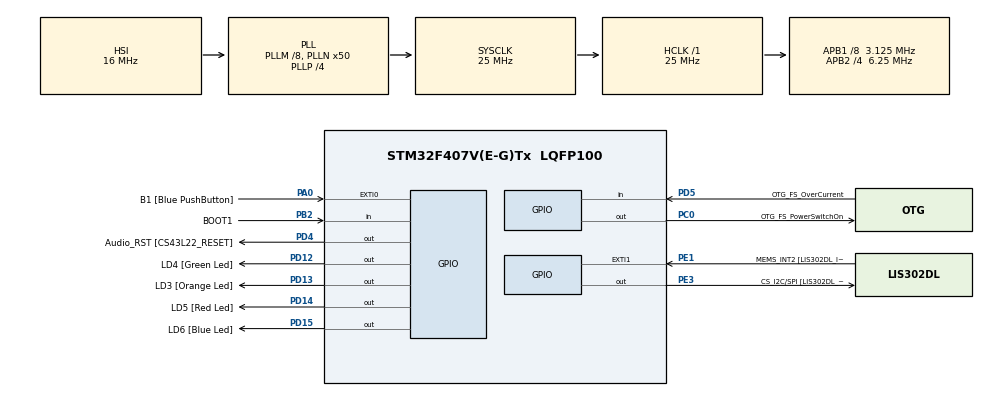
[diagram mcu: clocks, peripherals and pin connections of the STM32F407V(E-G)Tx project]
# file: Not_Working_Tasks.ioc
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Mcu.Family=STM32F4
Mcu.Name=STM32F407V(E-G)Tx
Mcu.Package=LQFP100
NVIC.PriorityGroup=NVIC_PRIORITYGROUP_4
NVIC.TIM6_DAC_IRQn=true\:0\:0\:false\:false\:true\:false\:true
NVIC.TimeBase=TIM6_DAC_IRQn
NVIC.TimeBaseIP=TIM6
PA0-WKUP.GPIO_Label=B1 [Blue PushButton]
PA0-WKUP.GPIO_ModeDefaultEXTI=GPIO_MODE_EVT_RISING
PA0-WKUP.GPIO_PuPd=GPIO_NOPULL
PA0-WKUP.Signal=GPXTI0
PA10.GPIO_Label=OTG_FS_ID
PA10.GPIO_Mode=GPIO_MODE_AF_PP
PA10.GPIO_PuPd=GPIO_NOPULL
PA10.GPIO_Speed=GPIO_SPEED_FREQ_LOW
PA10.Signal=USB_OTG_FS_ID
PA11.GPIO_Label=OTG_FS_DM
PA11.GPIO_Mode=GPIO_MODE_AF_PP
PA11.GPIO_PuPd=GPIO_NOPULL
PA11.GPIO_Speed=GPIO_SPEED_FREQ_LOW
PA11.Signal=USB_OTG_FS_DM
PA12.GPIO_Label=OTG_FS_DP
PA12.GPIO_Mode=GPIO_MODE_AF_PP
PA12.GPIO_PuPd=GPIO_NOPULL
PA12.GPIO_Speed=GPIO_SPEED_FREQ_LOW
PA12.Signal=USB_OTG_FS_DP
PA13.GPIO_Label=SWDIO
PA13.Signal=SYS_JTMS-SWDIO
PA14.GPIO_Label=SWCLK
PA14.Signal=SYS_JTCK-SWCLK
PA4.GPIO_Label=I2S3_WS [CS43L22_LRCK]
PA4.GPIO_Mode=GPIO_MODE_AF_PP
PA4.GPIO_PuPd=GPIO_NOPULL
PA4.GPIO_Speed=GPIO_SPEED_FREQ_LOW
PA4.Signal=I2S3_WS
PA5.GPIO_Label=SPI1_SCK [LIS302DL_SCL/SPC]
PA5.GPIO_Mode=GPIO_MODE_AF_PP
PA5.GPIO_PuPd=GPIO_NOPULL
PA5.GPIO_Speed=GPIO_SPEED_FREQ_LOW
PA5.Signal=SPI1_SCK
PA6.GPIO_Label=SPI1_MISO [LIS302DL_SDO]
PA6.GPIO_Mode=GPIO_MODE_AF_PP
PA6.GPIO_PuPd=GPIO_NOPULL
PA6.GPIO_Speed=GPIO_SPEED_FREQ_LOW
PA6.Signal=SPI1_MISO
PA7.GPIO_Label=SPI1_MOSI [LIS302DL_SDA/SDI/SDO]
PA7.GPIO_Mode=GPIO_MODE_AF_PP
PA7.GPIO_PuPd=GPIO_NOPULL
PA7.GPIO_Speed=GPIO_SPEED_FREQ_LOW
PA7.Signal=SPI1_MOSI
PA9.GPIO_Label=VBUS_FS
PA9.GPIO_Mode=GPIO_MODE_INPUT
PA9.GPIO_PuPd=GPIO_NOPULL
PA9.Signal=USB_OTG_FS_VBUS
PB10.GPIO_Label=CLK_IN [MP45DT02_CLK]
PB10.GPIO_Mode=GPIO_MODE_AF_PP
PB10.GPIO_PuPd=GPIO_NOPULL
PB10.GPIO_Speed=GPIO_SPEED_FREQ_LOW
PB10.Signal=I2S2_CK
PB2.GPIO_Label=BOOT1
PB2.GPIO_Mode=GPIO_MODE_INPUT
PB2.GPIO_PuPd=GPIO_NOPULL
PB2.Signal=GPIO_Input
PB3.GPIO_Label=SWO
PB3.Signal=SYS_JTDO-SWO
PB6.GPIO_Label=Audio_SCL [CS43L22_SCL]
PB6.GPIO_Mode=GPIO_MODE_AF_OD
PB6.GPIO_PuPd=GPIO_NOPULL
PB6.GPIO_Speed=GPIO_SPEED_FREQ_LOW
PB6.Signal=I2C1_SCL
PB9.GPIO_Label=Audio_SDA [CS43L22_SDA]
PB9.GPIO_Mode=GPIO_MODE_AF_OD
PB9.GPIO_PuPd=GPIO_NOPULL
PB9.GPIO_Speed=GPIO_SPEED_FREQ_LOW
PB9.Signal=I2C1_SDA
PC0.GPIO_Label=OTG_FS_PowerSwitchOn
PC0.GPIO_PuPd=GPIO_NOPULL
PC0.GPIO_Speed=GPIO_SPEED_FREQ_LOW
PC0.PinState=GPIO_PIN_SET
PC0.Signal=GPIO_Output
PC10.GPIO_Label=I2S3_SCK [CS43L22_SCLK]
PC10.GPIO_Mode=GPIO_MODE_AF_PP
PC10.GPIO_PuPd=GPIO_NOPULL
PC10.GPIO_Speed=GPIO_SPEED_FREQ_LOW
PC10.Signal=I2S3_CK
PC12.GPIO_Label=I2S3_SD [CS43L22_SDIN]
PC12.GPIO_Mode=GPIO_MODE_AF_PP
PC12.GPIO_PuPd=GPIO_NOPULL
PC12.GPIO_Speed=GPIO_SPEED_FREQ_LOW
PC12.Signal=I2S3_SD
PC14-OSC32_IN.GPIO_Label=PC14-OSC32_IN
PC14-OSC32_IN.Signal=RCC_OSC32_IN
PC15-OSC32_OUT.GPIO_Label=PC15-OSC32_OUT
PC15-OSC32_OUT.Signal=RCC_OSC32_OUT
PC3.GPIO_Label=PDM_OUT [MP45DT02_DOUT]
PC3.GPIO_Mode=GPIO_MODE_AF_PP
PC3.GPIO_PuPd=GPIO_NOPULL
PC3.GPIO_Speed=GPIO_SPEED_FREQ_LOW
PC3.Signal=I2S2_SD
PC7.GPIO_Label=I2S3_MCK [CS43L22_MCLK]
PC7.GPIO_Mode=GPIO_MODE_AF_PP
PC7.GPIO_PuPd=GPIO_NOPULL
PC7.GPIO_Speed=GPIO_SPEED_FREQ_LOW
PC7.Signal=I2S3_MCK
PD12.GPIO_Label=LD4 [Green Led]
PD12.GPIO_PuPd=GPIO_NOPULL
PD12.GPIO_Speed=GPIO_SPEED_FREQ_LOW
PD12.Signal=GPIO_Output
PD13.GPIO_Label=LD3 [Orange Led]
PD13.GPIO_PuPd=GPIO_NOPULL
PD13.GPIO_Speed=GPIO_SPEED_FREQ_LOW
PD13.Signal=GPIO_Output
PD14.GPIO_Label=LD5 [Red Led]
PD14.GPIO_PuPd=GPIO_NOPULL
PD14.GPIO_Speed=GPIO_SPEED_FREQ_LOW
PD14.Signal=GPIO_Output
PD15.GPIO_Label=LD6 [Blue Led]
PD15.GPIO_PuPd=GPIO_NOPULL
PD15.GPIO_Speed=GPIO_SPEED_FREQ_LOW
PD15.Signal=GPIO_Output
PD4.GPIO_Label=Audio_RST [CS43L22_RESET]
PD4.GPIO_PuPd=GPIO_NOPULL
PD4.GPIO_Speed=GPIO_SPEED_FREQ_LOW
PD4.Signal=GPIO_Output
PD5.GPIO_Label=OTG_FS_OverCurrent
PD5.GPIO_Mode=GPIO_MODE_INPUT
PD5.GPIO_PuPd=GPIO_NOPULL
PD5.Signal=GPIO_Input
PE1.GPIO_Label=MEMS_INT2 [LIS302DL_INT2]
PE1.GPIO_ModeDefaultEXTI=GPIO_MODE_EVT_RISING
PE1.GPIO_PuPd=GPIO_NOPULL
PE1.Signal=GPXTI1
PE3.GPIO_Label=CS_I2C/SPI [LIS302DL_CS_I2C/SPI]
PE3.GPIO_PuPd=GPIO_NOPULL
PE3.GPIO_Speed=GPIO_SPEED_FREQ_LOW
PE3.Signal=GPIO_Output
PH0-OSC_IN.GPIO_Label=PH0-OSC_IN
PH0-OSC_IN.Signal=RCC_OSC_IN
PH1-OSC_OUT.GPIO_Label=PH1-OSC_OUT
PH1-OSC_OUT.Signal=RCC_OSC_OUT
ProjectManager.HeapSize=0x200
ProjectManager.StackSize=0x400
ProjectManager.TargetToolchain=STM32CubeIDE
RCC.48MHZClocksFreq_Value=14285714.285714285
RCC.AHBFreq_Value=25000000
RCC.APB1CLKDivider=RCC_HCLK_DIV8
RCC.APB1Freq_Value=3125000
RCC.APB1TimFreq_Value=6250000
RCC.APB2CLKDivider=RCC_HCLK_DIV4
RCC.APB2Freq_Value=6250000
RCC.APB2TimFreq_Value=12500000
RCC.CortexFreq_Value=25000000
RCC.HCLKFreq_Value=25000000
RCC.HSE_VALUE=8000000
RCC.HSI_VALUE=16000000
RCC.LSE_VALUE=32768
RCC.PLLM=8
RCC.PLLN=50
RCC.PLLP=RCC_PLLP_DIV4
RCC.PLLQ=7
RCC.SYSCLKFreq_VALUE=25000000
RCC.SYSCLKSource=RCC_SYSCLKSOURCE_PLLCLK
RCC.VCOOutputFreq_Value=100000000
VP_SYS_VS_tim6.Mode=TIM6
board=STM32F4DISCOVERY

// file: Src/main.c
/* USER CODE BEGIN Header */
/**
  ******************************************************************************
  * @file           : main.c
  * @brief          : Main program body
  ******************************************************************************
  * @attention
  *
  * <h2><center>&copy; Copyright (c) 2025 STMicroelectronics.
  * All rights reserved.</center></h2>
  *
  * This software component is licensed by ST under BSD 3-Clause license,
  * the "License"; You may not use this file except in compliance with the
  * License. You may obtain a copy of the License at:
  *                        opensource.org/licenses/BSD-3-Clause
  *
  ******************************************************************************
  */
/* USER CODE END Header */

#include "main.h"

/* USER CODE BEGIN Includes */
#include <stdio.h>
#include "FreeRTOS.h"
#include "task.h"

/* USER CODE END Includes */

void SystemClock_Config(void);
static void MX_GPIO_Init(void);
/* USER CODE BEGIN PFP */

static void task1_handler(void* parameters);
static void task2_handler(void* parameters);
void vApplicationIdleHook(void);

/* USER CODE END PFP */

int main(void)
{
  /* USER CODE BEGIN 1 */

	TaskHandle_t task1_handle;
	TaskHandle_t task2_handle;

	BaseType_t status;

  /* USER CODE END 1 */

  /* MCU Configuration--------------------------------------------------------*/

  /* Reset of all peripherals, Initializes the Flash interface and the Systick. */
  HAL_Init();

  /* Configure the system clock */
  SystemClock_Config();

  /* Initialize all configured peripherals */
  MX_GPIO_Init();
  /* USER CODE BEGIN 2 */

  status = xTaskCreate(task1_handler, "Task-1", 200, "Hello world from Task-1", 2, &task1_handle);

  configASSERT(status == pdPASS);

  status = xTaskCreate(task2_handler, "Task-2", 200, "Hello world from Task-2", 2, &task2_handle);

  configASSERT(status == pdPASS);

  // Start the FreeRTOS scheduler
  vTaskStartScheduler();

  // If the control comes here, then the launch of the scheduler has failed due to insufficient memory in heap

  /* USER CODE END 2 */

  /* Infinite loop */
  while (1)
  {

  }
}

void SystemClock_Config(void)
{
  RCC_OscInitTypeDef RCC_OscInitStruct = {0};
  RCC_ClkInitTypeDef RCC_ClkInitStruct = {0};

  /** Configure the main internal regulator output voltage
  */
  __HAL_RCC_PWR_CLK_ENABLE();
  __HAL_PWR_VOLTAGESCALING_CONFIG(PWR_REGULATOR_VOLTAGE_SCALE1);
  /** Initializes the CPU, AHB and APB busses clocks
  */
  RCC_OscInitStruct.OscillatorType = RCC_OSCILLATORTYPE_HSI;
  RCC_OscInitStruct.HSIState = RCC_HSI_ON;
  RCC_OscInitStruct.HSICalibrationValue = RCC_HSICALIBRATION_DEFAULT;
  RCC_OscInitStruct.PLL.PLLState = RCC_PLL_ON;
  RCC_OscInitStruct.PLL.PLLSource = RCC_PLLSOURCE_HSI;
  RCC_OscInitStruct.PLL.PLLM = 8;
  RCC_OscInitStruct.PLL.PLLN = 50;
  RCC_OscInitStruct.PLL.PLLP = RCC_PLLP_DIV4;
  RCC_OscInitStruct.PLL.PLLQ = 7;
  if (HAL_RCC_OscConfig(&RCC_OscInitStruct) != HAL_OK)
  {
    Error_Handler();
  }
  /** Initializes the CPU, AHB and APB busses clocks
  */
  RCC_ClkInitStruct.ClockType = RCC_CLOCKTYPE_HCLK|RCC_CLOCKTYPE_SYSCLK
                              |RCC_CLOCKTYPE_PCLK1|RCC_CLOCKTYPE_PCLK2;
  RCC_ClkInitStruct.SYSCLKSource = RCC_SYSCLKSOURCE_PLLCLK;
  RCC_ClkInitStruct.AHBCLKDivider = RCC_SYSCLK_DIV1;
  RCC_ClkInitStruct.APB1CLKDivider = RCC_HCLK_DIV8;
  RCC_ClkInitStruct.APB2CLKDivider = RCC_HCLK_DIV4;

  if (HAL_RCC_ClockConfig(&RCC_ClkInitStruct, FLASH_LATENCY_0) != HAL_OK)
  {
    Error_Handler();
  }
}

static void MX_GPIO_Init(void)
{
  GPIO_InitTypeDef GPIO_InitStruct = {0};

  /* GPIO Ports Clock Enable */
  __HAL_RCC_GPIOE_CLK_ENABLE();
  __HAL_RCC_GPIOC_CLK_ENABLE();
  __HAL_RCC_GPIOH_CLK_ENABLE();
  __HAL_RCC_GPIOA_CLK_ENABLE();
  __HAL_RCC_GPIOB_CLK_ENABLE();
  __HAL_RCC_GPIOD_CLK_ENABLE();

  /*Configure GPIO pin Output Level */
  HAL_GPIO_WritePin(CS_I2C_SPI_GPIO_Port, CS_I2C_SPI_Pin, GPIO_PIN_RESET);

  /*Configure GPIO pin Output Level */
  HAL_GPIO_WritePin(OTG_FS_PowerSwitchOn_GPIO_Port, OTG_FS_PowerSwitchOn_Pin, GPIO_PIN_SET);

  /*Configure GPIO pin Output Level */
  HAL_GPIO_WritePin(GPIOD, LD4_Pin|LD3_Pin|LD5_Pin|LD6_Pin
                          |Audio_RST_Pin, GPIO_PIN_RESET);

  /*Configure GPIO pin : CS_I2C_SPI_Pin */
  GPIO_InitStruct.Pin = CS_I2C_SPI_Pin;
  GPIO_InitStruct.Mode = GPIO_MODE_OUTPUT_PP;
  GPIO_InitStruct.Pull = GPIO_NOPULL;
  GPIO_InitStruct.Speed = GPIO_SPEED_FREQ_LOW;
  HAL_GPIO_Init(CS_I2C_SPI_GPIO_Port, &GPIO_InitStruct);

  /*Configure GPIO pin : OTG_FS_PowerSwitchOn_Pin */
  GPIO_InitStruct.Pin = OTG_FS_PowerSwitchOn_Pin;
  GPIO_InitStruct.Mode = GPIO_MODE_OUTPUT_PP;
  GPIO_InitStruct.Pull = GPIO_NOPULL;
  GPIO_InitStruct.Speed = GPIO_SPEED_FREQ_LOW;
  HAL_GPIO_Init(OTG_FS_PowerSwitchOn_GPIO_Port, &GPIO_InitStruct);

  /*Configure GPIO pin : PDM_OUT_Pin */
  GPIO_InitStruct.Pin = PDM_OUT_Pin;
  GPIO_InitStruct.Mode = GPIO_MODE_AF_PP;
  GPIO_InitStruct.Pull = GPIO_NOPULL;
  GPIO_InitStruct.Speed = GPIO_SPEED_FREQ_LOW;
  GPIO_InitStruct.Alternate = GPIO_AF5_SPI2;
  HAL_GPIO_Init(PDM_OUT_GPIO_Port, &GPIO_InitStruct);

  /*Configure GPIO pin : B1_Pin */
  GPIO_InitStruct.Pin = B1_Pin;
  GPIO_InitStruct.Mode = GPIO_MODE_EVT_RISING;
  GPIO_InitStruct.Pull = GPIO_NOPULL;
  HAL_GPIO_Init(B1_GPIO_Port, &GPIO_InitStruct);

  /*Configure GPIO pin : I2S3_WS_Pin */
  GPIO_InitStruct.Pin = I2S3_WS_Pin;
  GPIO_InitStruct.Mode = GPIO_MODE_AF_PP;
  GPIO_InitStruct.Pull = GPIO_NOPULL;
  GPIO_InitStruct.Speed = GPIO_SPEED_FREQ_LOW;
  GPIO_InitStruct.Alternate = GPIO_AF6_SPI3;
  HAL_GPIO_Init(I2S3_WS_GPIO_Port, &GPIO_InitStruct);

  /*Configure GPIO pins : SPI1_SCK_Pin SPI1_MISO_Pin SPI1_MOSI_Pin */
  GPIO_InitStruct.Pin = SPI1_SCK_Pin|SPI1_MISO_Pin|SPI1_MOSI_Pin;
  GPIO_InitStruct.Mode = GPIO_MODE_AF_PP;
  GPIO_InitStruct.Pull = GPIO_NOPULL;
  GPIO_InitStruct.Speed = GPIO_SPEED_FREQ_LOW;
  GPIO_InitStruct.Alternate = GPIO_AF5_SPI1;
  HAL_GPIO_Init(GPIOA, &GPIO_InitStruct);

  /*Configure GPIO pin : BOOT1_Pin */
  GPIO_InitStruct.Pin = BOOT1_Pin;
  GPIO_InitStruct.Mode = GPIO_MODE_INPUT;
  GPIO_InitStruct.Pull = GPIO_NOPULL;
  HAL_GPIO_Init(BOOT1_GPIO_Port, &GPIO_InitStruct);

  /*Configure GPIO pin : CLK_IN_Pin */
  GPIO_InitStruct.Pin = CLK_IN_Pin;
  GPIO_InitStruct.Mode = GPIO_MODE_AF_PP;
  GPIO_InitStruct.Pull = GPIO_NOPULL;
  GPIO_InitStruct.Speed = GPIO_SPEED_FREQ_LOW;
  GPIO_InitStruct.Alternate = GPIO_AF5_SPI2;
  HAL_GPIO_Init(CLK_IN_GPIO_Port, &GPIO_InitStruct);

  /*Configure GPIO pins : LD4_Pin LD3_Pin LD5_Pin LD6_Pin
                           Audio_RST_Pin */
  GPIO_InitStruct.Pin = LD4_Pin|LD3_Pin|LD5_Pin|LD6_Pin
                          |Audio_RST_Pin;
  GPIO_InitStruct.Mode = GPIO_MODE_OUTPUT_PP;
  GPIO_InitStruct.Pull = GPIO_NOPULL;
  GPIO_InitStruct.Speed = GPIO_SPEED_FREQ_LOW;
  HAL_GPIO_Init(GPIOD, &GPIO_InitStruct);

  /*Configure GPIO pins : I2S3_MCK_Pin I2S3_SCK_Pin I2S3_SD_Pin */
  GPIO_InitStruct.Pin = I2S3_MCK_Pin|I2S3_SCK_Pin|I2S3_SD_Pin;
  GPIO_InitStruct.Mode = GPIO_MODE_AF_PP;
  GPIO_InitStruct.Pull = GPIO_NOPULL;
  GPIO_InitStruct.Speed = GPIO_SPEED_FREQ_LOW;
  GPIO_InitStruct.Alternate = GPIO_AF6_SPI3;
  HAL_GPIO_Init(GPIOC, &GPIO_InitStruct);

  /*Configure GPIO pin : VBUS_FS_Pin */
  GPIO_InitStruct.Pin = VBUS_FS_Pin;
  GPIO_InitStruct.Mode = GPIO_MODE_INPUT;
  GPIO_InitStruct.Pull = GPIO_NOPULL;
  HAL_GPIO_Init(VBUS_FS_GPIO_Port, &GPIO_InitStruct);

  /*Configure GPIO pins : OTG_FS_ID_Pin OTG_FS_DM_Pin OTG_FS_DP_Pin */
  GPIO_InitStruct.Pin = OTG_FS_ID_Pin|OTG_FS_DM_Pin|OTG_FS_DP_Pin;
  GPIO_InitStruct.Mode = GPIO_MODE_AF_PP;
  GPIO_InitStruct.Pull = GPIO_NOPULL;
  GPIO_InitStruct.Speed = GPIO_SPEED_FREQ_LOW;
  GPIO_InitStruct.Alternate = GPIO_AF10_OTG_FS;
  HAL_GPIO_Init(GPIOA, &GPIO_InitStruct);

  /*Configure GPIO pin : OTG_FS_OverCurrent_Pin */
  GPIO_InitStruct.Pin = OTG_FS_OverCurrent_Pin;
  GPIO_InitStruct.Mode = GPIO_MODE_INPUT;
  GPIO_InitStruct.Pull = GPIO_NOPULL;
  HAL_GPIO_Init(OTG_FS_OverCurrent_GPIO_Port, &GPIO_InitStruct);

  /*Configure GPIO pins : Audio_SCL_Pin Audio_SDA_Pin */
  GPIO_InitStruct.Pin = Audio_SCL_Pin|Audio_SDA_Pin;
  GPIO_InitStruct.Mode = GPIO_MODE_AF_OD;
  GPIO_InitStruct.Pull = GPIO_PULLUP;
  GPIO_InitStruct.Speed = GPIO_SPEED_FREQ_LOW;
  GPIO_InitStruct.Alternate = GPIO_AF4_I2C1;
  HAL_GPIO_Init(GPIOB, &GPIO_InitStruct);

  /*Configure GPIO pin : MEMS_INT2_Pin */
  GPIO_InitStruct.Pin = MEMS_INT2_Pin;
  GPIO_InitStruct.Mode = GPIO_MODE_EVT_RISING;
  GPIO_InitStruct.Pull = GPIO_NOPULL;
  HAL_GPIO_Init(MEMS_INT2_GPIO_Port, &GPIO_InitStruct);

}

/* USER CODE BEGIN 4 */

static void task1_handler(void* parameters)
{

	while(1)
	{
		printf("%s\n", (char*)parameters);
	}
}

static void task2_handler(void* parameters)
{

	while(1)
	{
		printf("%s\n", (char*)parameters);
	}
}

void vApplicationIdleHook(void)
{

}
/* USER CODE END 4 */

void HAL_TIM_PeriodElapsedCallback(TIM_HandleTypeDef *htim)
{
  if (htim->Instance == TIM6) {
    HAL_IncTick();
  }
}

void Error_Handler(void)
{
}

/************************ (C) COPYRIGHT STMicroelectronics *****END OF FILE****/
